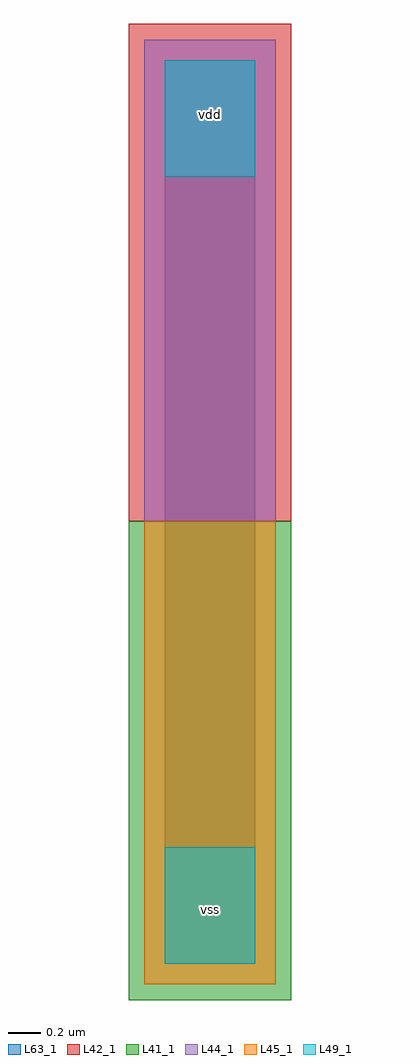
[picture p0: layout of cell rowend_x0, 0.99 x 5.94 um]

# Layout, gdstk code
import gdstk
lib = gdstk.Library(unit=1e-6, precision=1e-09)
def R(c, l, rs):  # rectangles x0, y0, x1, y1
    for r in rs: c.add(gdstk.rectangle(r[:2], r[2:], *l))
L41_1 = (41, 1)
L42_1 = (42, 1)
L44_1 = (44, 1)
L45_1 = (45, 1)
L49_1 = (49, 1)
L63_1 = (63, 1)

rowend_x0 = lib.new_cell('rowend_x0')
R(rowend_x0, L41_1, [(-0.22,-0.22,0.77,2.695)])
R(rowend_x0, L42_1, [(-0.22,2.695,0.77,5.72)])
R(rowend_x0, L44_1, [(-0.125,2.695,0.675,5.625)])
R(rowend_x0, L45_1, [(-0.125,-0.125,0.675,2.695)])
R(rowend_x0, L49_1, [(0,0,0.55,0.71), (0,4.79,0.55,5.5)])
R(rowend_x0, L63_1, [(0,0,0.55,5.5)])
rowend_x0.add(gdstk.Label('vss', (0.275,0.33), layer=49, texttype=1))
rowend_x0.add(gdstk.Label('vss', (0.275,0.33), layer=49, texttype=1))
rowend_x0.add(gdstk.Label('vdd', (0.275,5.17), layer=49, texttype=1))
rowend_x0.add(gdstk.Label('vdd', (0.275,5.17), layer=49, texttype=1))

lib.write_gds('rowend_x0.gds')
